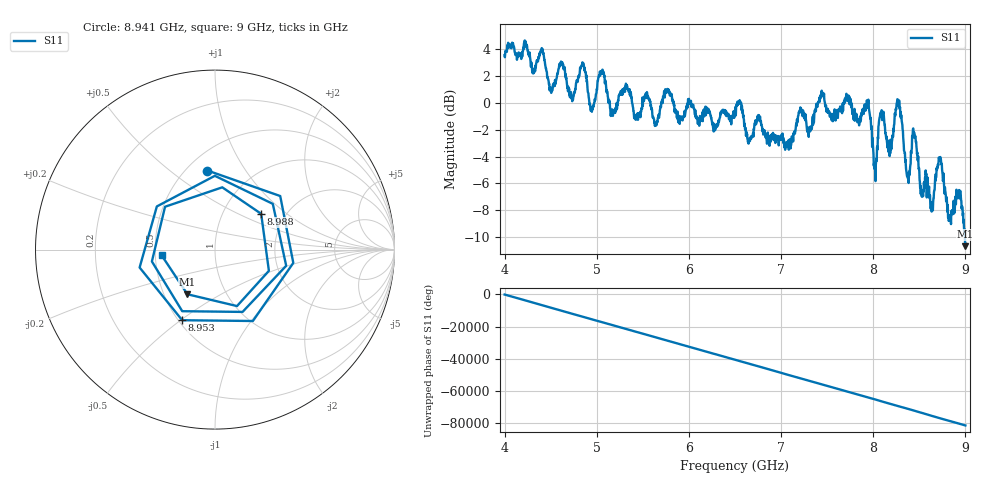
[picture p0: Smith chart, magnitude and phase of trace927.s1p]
! Created with skrf 1.8.0 (http://scikit-rf.org).
# Hz S RI R 50.0
!freq ReS11 ImS11
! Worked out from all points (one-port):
!   1601 points, 4 GHz to 9 GHz, reference 50 ohm
!   lowest |S11| = -10.7 dB at 8.997 GHz (marker M1), VSWR 1.83, Z = 32.8 - j17.9 ohm
!   |S11| at or under -10 dB: 8.995366 GHz to end of sweep
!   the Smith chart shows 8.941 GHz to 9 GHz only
!   S11 on the Smith chart (normalised r, x): 8.941 GHz: 0.63, +0.69; 8.953 GHz: 0.52, -0.51; 8.988 GHz: 1.51, +0.67; 9 GHz: 0.54, -0.04
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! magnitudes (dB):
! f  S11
! 4 GHz  3.6
! 4.625 GHz  3.0
! 4.728 GHz  0.5
! 4.856 GHz  2.8
! 4.944 GHz  -0.5
! 5.05 GHz  2.2
! 5.169 GHz  -0.5
! 5.25 GHz  0.6
! 5.875 GHz  -0.6
! 6.5 GHz  -0.5
! 7.125 GHz  -2.6
! 7.75 GHz  -0.1
! 7.944 GHz  0.0
! 8.022 GHz  -5.5
! 8.084 GHz  -1.0
! 8.178 GHz  -4.0
! 8.272 GHz  0.1
! 8.375 GHz  -5.5
! 8.447 GHz  -2.3
! 8.528 GHz  -7.0
! 8.638 GHz  -7.4
! 8.719 GHz  -4.1
! 8.828 GHz  -8.4
! 8.941 GHz  -7.1
! 8.953 GHz  -7.3
! 8.988 GHz  -9.8
! 8.997 GHz  -10.7
! 9 GHz  -10.5
